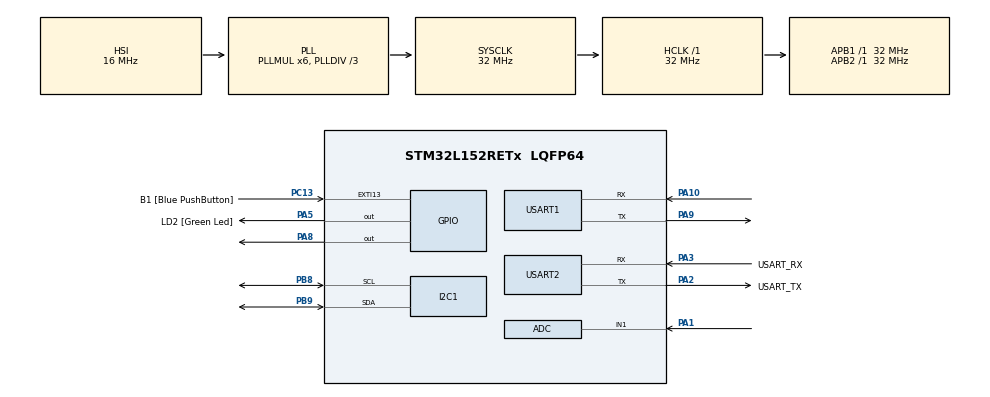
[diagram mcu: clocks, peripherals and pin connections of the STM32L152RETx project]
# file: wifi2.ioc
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ADC.Channel-0\#ChannelRegularConversion=ADC_CHANNEL_1
ADC.NbrOfConversionFlag=1
ADC.Rank-0\#ChannelRegularConversion=1
ADC.Resolution=ADC_RESOLUTION_10B
ADC.SamplingTime-0\#ChannelRegularConversion=ADC_SAMPLETIME_4CYCLES
Mcu.Family=STM32L1
Mcu.Name=STM32L152RETx
Mcu.Package=LQFP64
NVIC.PriorityGroup=NVIC_PRIORITYGROUP_0
NVIC.USART1_IRQn=true\:0\:0\:false\:false\:true\:true\:true\:true
NVIC.USART2_IRQn=true\:0\:0\:false\:false\:true\:true\:true\:true
PA1.Mode=IN1
PA1.Signal=ADC_IN1
PA10.Mode=Asynchronous
PA10.Signal=USART1_RX
PA13.GPIO_Label=TMS
PA13.Mode=Serial_Wire
PA13.Signal=SYS_JTMS-SWDIO
PA14.GPIO_Label=TCK
PA14.Mode=Serial_Wire
PA14.Signal=SYS_JTCK-SWCLK
PA2.GPIO_Label=USART_TX
PA2.Mode=Asynchronous
PA2.Signal=USART2_TX
PA3.GPIO_Label=USART_RX
PA3.Mode=Asynchronous
PA3.Signal=USART2_RX
PA5.GPIO_Label=LD2 [Green Led]
PA5.Signal=GPIO_Output
PA8.GPIO_ModeDefaultOutputPP=GPIO_MODE_OUTPUT_PP
PA8.Signal=GPIO_Output
PA9.Mode=Asynchronous
PA9.Signal=USART1_TX
PB3.GPIO_Label=SWO
PB3.Signal=SYS_JTDO-TRACESWO
PB8.Mode=I2C
PB8.Signal=I2C1_SCL
PB9.Mode=I2C
PB9.Signal=I2C1_SDA
PC13-WKUP2.GPIO_Label=B1 [Blue PushButton]
PC13-WKUP2.Signal=GPXTI13
PC14-OSC32_IN.Mode=LSE-External-Oscillator
PC14-OSC32_IN.Signal=RCC_OSC32_IN
PC15-OSC32_OUT.Mode=LSE-External-Oscillator
PC15-OSC32_OUT.Signal=RCC_OSC32_OUT
PH0-OSC_IN.Mode=HSE-External-Clock-Source
PH0-OSC_IN.Signal=RCC_OSC_IN
PH1-OSC_OUT.Signal=RCC_OSC_OUT
ProjectManager.HeapSize=0x200
ProjectManager.StackSize=0x400
ProjectManager.TargetToolchain=STM32CubeIDE
RCC.48MHZClocksFreq_Value=48000000
RCC.AHBFreq_Value=32000000
RCC.APB1Freq_Value=32000000
RCC.APB1TimFreq_Value=32000000
RCC.APB2Freq_Value=32000000
RCC.APB2TimFreq_Value=32000000
RCC.HCLKFreq_Value=32000000
RCC.HSE_VALUE=8000000
RCC.HSI_VALUE=16000000
RCC.MSI_VALUE=2097000
RCC.PLLDIV=RCC_PLL_DIV3
RCC.PLLMUL=RCC_PLL_MUL6
RCC.RTCClockSelectionVirtual=RCC_RTCCLKSOURCE_LSE
RCC.SYSCLKFreq_VALUE=32000000
RCC.SYSCLKSource=RCC_SYSCLKSOURCE_PLLCLK
RCC.USBOutput=48000000
RCC.VCOOutputFreq_Value=96000000
USART1.VirtualMode=VM_ASYNC
USART2.VirtualMode=VM_ASYNC
VP_TIM2_VS_ClockSourceINT.Mode=Internal
board=NUCLEO-L152RE

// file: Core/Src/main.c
/* USER CODE BEGIN Header */
/**
  ******************************************************************************
  * @file           : main.c
  * @brief          : Main program body
  ******************************************************************************
  * @attention
  *
  * Copyright (c) 2023 STMicroelectronics.
  * All rights reserved.
  *
  * This software is licensed under terms that can be found in the LICENSE file
  * in the root directory of this software component.
  * If no LICENSE file comes with this software, it is provided AS-IS.
  *
  ******************************************************************************
  */
/* USER CODE END Header */
#include "main.h"
#include "adc.h"
#include "i2c.h"
#include "tim.h"
#include "usart.h"
#include "gpio.h"

/* USER CODE BEGIN Includes */

#include "lib_lcd.h"
#include <stdio.h>
#include <string.h>
#include "DHT22.h"

/* USER CODE END Includes */

void SystemClock_Config(void);

int main(void)
{
  /* USER CODE BEGIN 1 */

	float Humidite = 0.0,Temperature = 0.0;
	rgb_lcd DataStruct;
	uint8_t dataH1;
	uint8_t dataH2;
	uint8_t dataT1;
	uint8_t dataT2;
	uint8_t check_sum;
	uint8_t sum;
	char buffH[32];
	char buffT[32];
  /* USER CODE END 1 */

  /* MCU Configuration--------------------------------------------------------*/

  /* Reset of all peripherals, Initializes the Flash interface and the Systick. */
  HAL_Init();

  /* Configure the system clock */
  SystemClock_Config();

  /* USER CODE BEGIN SysInit */
  DWT_Delay_Init();
  lcd_init(&hi2c1, &DataStruct);
  HAL_TIM_Base_Start(&htim2);

  /* USER CODE END SysInit */

  /* Initialize all configured peripherals */
  MX_GPIO_Init();
  MX_USART2_UART_Init();
  MX_USART1_UART_Init();
  MX_ADC_Init();
  MX_TIM2_Init();
  MX_I2C1_Init();
  /* USER CODE BEGIN 2 */
  HAL_Init();
  DWT_Delay_Init();
  lcd_init(&hi2c1, &DataStruct);
  HAL_TIM_Base_Start(&htim2);

  int n = 0;

  char *cmdData = "AT";
  char cmdDataTmp[40];
  sprintf(cmdDataTmp,"%s\r\n",cmdData);
  /* USER CODE END 2 */

  /* Infinite loop */
  while (1)
  {

    /* USER CODE BEGIN 3 */
	  //char buffer[128] = {0};
	  char buffer2[128] = {0};
	  HAL_UART_Receive(&huart1, buffer2, 128, 1000);
	  HAL_UART_Transmit (&huart2, (uint8_t *)buffer2, strlen (buffer2), 1000);

      //HAL_Delay(100);//pour serveur
      //if(n==2 || n==3){HAL_Delay(5000);}//pour serveur

	  HAL_Delay(5000);//pour client
	  if(n==7){HAL_Delay(1000);}//pour client
	  switch (n)
{
case 0:

	  HAL_UART_Transmit(&huart1,(uint8_t *)cmdDataTmp,strlen(cmdDataTmp),1000);

		n = 1;

	break;

//服务器模式:
/*case 1:
	cmdData = "AT+CWMODE=2";
	sprintf(cmdDataTmp,"%s\r\n",cmdData);
	 HAL_UART_Transmit(&huart1,(uint8_t *)cmdDataTmp,strlen(cmdDataTmp),1000);

		n = 2;
	break;
case 2:
	 cmdData = "AT+RST";
     sprintf(cmdDataTmp,"%s\r\n",cmdData);
	 HAL_UART_Transmit(&huart1,(uint8_t *)cmdDataTmp,strlen(cmdDataTmp),1000);

		n = 3;
	break;
case 3:
	cmdData = "AT+CWSAP=\"ESP8266AB\",\"1234567890\",6,4";
     sprintf(cmdDataTmp,"%s\r\n",cmdData);
	 HAL_UART_Transmit(&huart1,(uint8_t *)cmdDataTmp,strlen(cmdDataTmp),1000);

		n = 4;
	break;
case 4:
	cmdData = "AT+CIFSR";
     sprintf(cmdDataTmp,"%s\r\n",cmdData);
	 HAL_UART_Transmit(&huart1,(uint8_t *)cmdDataTmp,strlen(cmdDataTmp),1000);
	 n=5;
	break;
case 5:
	cmdData = "AT+CIPMUX=1";
     sprintf(cmdDataTmp,"%s\r\n",cmdData);
	 HAL_UART_Transmit(&huart1,(uint8_t *)cmdDataTmp,strlen(cmdDataTmp),1000);
		n = 6;
	break;
case 6:
	cmdData = "AT+CIPSERVER=1,8080";
     sprintf(cmdDataTmp,"%s\r\n",cmdData);
	 HAL_UART_Transmit(&huart1,(uint8_t *)cmdDataTmp,strlen(cmdDataTmp),1000);

		n = 7;
	break;*/

//客户端模式:
case 1:
	  cmdData = "AT+RST";
	sprintf(cmdDataTmp,"%s\r\n",cmdData);
	 HAL_UART_Transmit(&huart1,(uint8_t *)cmdDataTmp,strlen(cmdDataTmp),1000);

		n = 2;
	break;
case 2:
	cmdData = "AT+CWMODE=1";
     sprintf(cmdDataTmp,"%s\r\n",cmdData);
	 HAL_UART_Transmit(&huart1,(uint8_t *)cmdDataTmp,strlen(cmdDataTmp),1000);

		n = 3;
	break;
case 3:
	cmdData = "AT+CIPMUX=0";
     sprintf(cmdDataTmp,"%s\r\n",cmdData);
	 HAL_UART_Transmit(&huart1,(uint8_t *)cmdDataTmp,strlen(cmdDataTmp),1000);

		n = 4;
	break;
case 4:
	cmdData = "AT+CWJAP=\"ESP8266AAA\",\"1234567890\"";
     sprintf(cmdDataTmp,"%s\r\n",cmdData);
	 HAL_UART_Transmit(&huart1,(uint8_t *)cmdDataTmp,strlen(cmdDataTmp),1000);
	 n=5;
	break;
case 5:
	cmdData = "AT+CIPMODE=1";
     sprintf(cmdDataTmp,"%s\r\n",cmdData);
	 HAL_UART_Transmit(&huart1,(uint8_t *)cmdDataTmp,strlen(cmdDataTmp),1000);
		n = 6;
	break;
case 6:
	cmdData = "AT+CIPSTART=\"TCP\",\"192.168.4.1\",8080";
     sprintf(cmdDataTmp,"%s\r\n",cmdData);
	 HAL_UART_Transmit(&huart1,(uint8_t *)cmdDataTmp,strlen(cmdDataTmp),1000);

		n = 7;
	break;

case 7:
	cmdData = "AT+CIPSEND";
     sprintf(cmdDataTmp,"%s\r\n",cmdData);
	 HAL_UART_Transmit(&huart1,(uint8_t *)cmdDataTmp,strlen(cmdDataTmp),1000);

		n = 8;
	break;

case 8:
		 HAL_UART_Transmit(&huart1,(uint8_t *)buffH,strlen(buffH),1000);
		 HAL_UART_Transmit(&huart1,(uint8_t *)buffT,strlen(buffT),1000);
		break;

}

	                  DHT22_Start(); //demarrer le DHT22,dans le fichier DHT22.c
	    	          Data_Input(DHT_PORT, DHT_PIN);
	    	          commence_la_reception_de_donnees();
	    	          obtenir_donnees(&dataH1,&dataH2,&dataT1,&dataT2,&sum);
	                  check_sum = (uint8_t)(dataH1 + dataH2 + dataT1 + dataT2);
	                  if(check_sum == sum){
	                  Humidite = (float)((256 * dataH1 + dataH2) / 10.0);
	 	         	  Temperature = (float)((256 * dataT1 + dataT2) / 10.0);
	                  }
	                  else{
	                  lcd_print(&hi2c1,"SUM != CHECK");
	                  }
	                  affichage(Humidite,Temperature,buffH,buffT);
	                  HAL_GPIO_WritePin(GPIOA, GPIO_PIN_1, GPIO_PIN_SET);

  }
  /* USER CODE END 3 */
}

void SystemClock_Config(void)
{
  RCC_OscInitTypeDef RCC_OscInitStruct = {0};
  RCC_ClkInitTypeDef RCC_ClkInitStruct = {0};

  /** Configure the main internal regulator output voltage
  */
  __HAL_PWR_VOLTAGESCALING_CONFIG(PWR_REGULATOR_VOLTAGE_SCALE1);

  /** Initializes the RCC Oscillators according to the specified parameters
  * in the RCC_OscInitTypeDef structure.
  */
  RCC_OscInitStruct.OscillatorType = RCC_OSCILLATORTYPE_HSI;
  RCC_OscInitStruct.HSIState = RCC_HSI_ON;
  RCC_OscInitStruct.HSICalibrationValue = RCC_HSICALIBRATION_DEFAULT;
  RCC_OscInitStruct.PLL.PLLState = RCC_PLL_ON;
  RCC_OscInitStruct.PLL.PLLSource = RCC_PLLSOURCE_HSI;
  RCC_OscInitStruct.PLL.PLLMUL = RCC_PLL_MUL6;
  RCC_OscInitStruct.PLL.PLLDIV = RCC_PLL_DIV3;
  if (HAL_RCC_OscConfig(&RCC_OscInitStruct) != HAL_OK)
  {
    Error_Handler();
  }

  /** Initializes the CPU, AHB and APB buses clocks
  */
  RCC_ClkInitStruct.ClockType = RCC_CLOCKTYPE_HCLK|RCC_CLOCKTYPE_SYSCLK
                              |RCC_CLOCKTYPE_PCLK1|RCC_CLOCKTYPE_PCLK2;
  RCC_ClkInitStruct.SYSCLKSource = RCC_SYSCLKSOURCE_PLLCLK;
  RCC_ClkInitStruct.AHBCLKDivider = RCC_SYSCLK_DIV1;
  RCC_ClkInitStruct.APB1CLKDivider = RCC_HCLK_DIV1;
  RCC_ClkInitStruct.APB2CLKDivider = RCC_HCLK_DIV1;

  if (HAL_RCC_ClockConfig(&RCC_ClkInitStruct, FLASH_LATENCY_1) != HAL_OK)
  {
    Error_Handler();
  }
}

void Error_Handler(void)
{
  __disable_irq();
  while (1)
  {
  }
}
